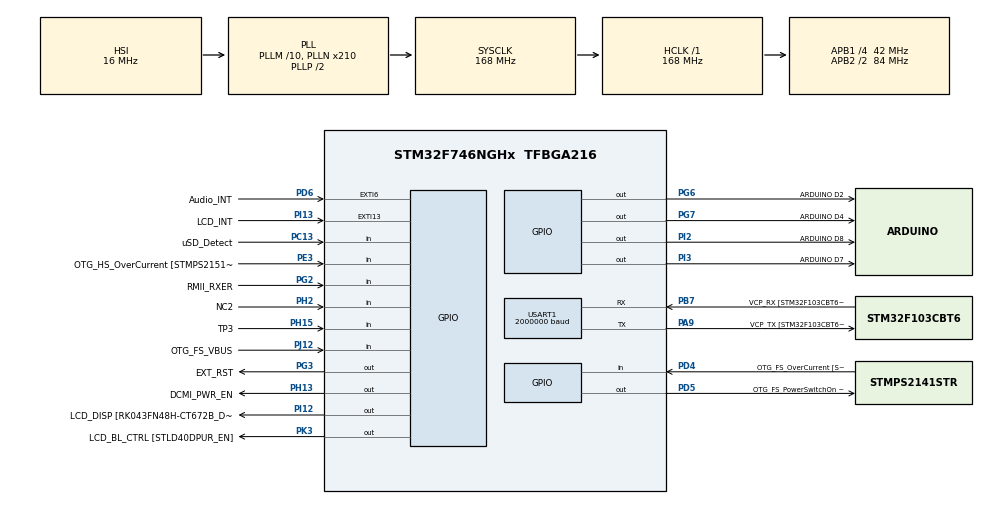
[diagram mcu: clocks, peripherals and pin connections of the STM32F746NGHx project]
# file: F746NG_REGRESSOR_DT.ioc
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Mcu.Family=STM32F7
Mcu.Name=STM32F746NGHx
Mcu.Package=TFBGA216
NVIC.PriorityGroup=NVIC_PRIORITYGROUP_4
PA0/WKUP.GPIO_Label=ARDUINO A0
PA0/WKUP.GPIO_Mode=GPIO_MODE_ANALOG
PA0/WKUP.GPIO_PuPd=GPIO_NOPULL
PA0/WKUP.Signal=ADCx_IN0
PA1.GPIO_Label=RMII_REF_CLK [LAN8742A-CZ-TR_REFCLK0]
PA1.Signal=ETH_REF_CLK
PA10.GPIO_Label=OTG_FS_ID
PA10.Signal=USB_OTG_FS_ID
PA11.GPIO_Label=OTG_FS_N
PA11.Signal=USB_OTG_FS_DM
PA12.GPIO_Label=OTG_FS_P
PA12.Signal=USB_OTG_FS_DP
PA13.GPIO_Label=SWDIO
PA13.Signal=SYS_JTMS-SWDIO
PA14.GPIO_Label=SWCLK
PA14.Signal=SYS_JTCK-SWCLK
PA15.GPIO_Label=ARDUINO PWM/D9
PA15.GPIO_ModeDefaultPP=GPIO_MODE_AF_PP
PA15.GPIO_PuPd=GPIO_NOPULL
PA15.GPIO_Speed=GPIO_SPEED_FREQ_LOW
PA15.Signal=S_TIM2_CH1_ETR
PA2.GPIO_Label=RMII_MDIO [LAN8742A-CZ-TR_MDIO]
PA2.Signal=ETH_MDIO
PA3.GPIO_Label=ULPI_D0 [USB3320C-EZK_D0]
PA3.Signal=USB_OTG_HS_ULPI_D0
PA4.GPIO_Label=DCMI_HSYNC
PA4.Signal=DCMI_HSYNC
PA5.GPIO_Label=ULPI_CLK [USB3320C-EZK_CLKOUT]
PA5.Signal=USB_OTG_HS_ULPI_CK
PA6.Signal=DCMI_PIXCLK
PA7.GPIO_Label=RMII_CRS_DV [LAN8742A-CZ-TR_CRS_DV]
PA7.Signal=ETH_CRS_DV
PA8.GPIO_Label=ARDUINO PWM/D10
PA8.GPIO_ModeDefaultPP=GPIO_MODE_AF_PP
PA8.GPIO_PuPd=GPIO_NOPULL
PA8.GPIO_Speed=GPIO_SPEED_FREQ_LOW
PA8.Signal=S_TIM1_CH1
PA9.GPIO_Label=VCP_TX [STM32F103CBT6_PA3]
PA9.GPIO_Mode=GPIO_MODE_AF_PP
PA9.GPIO_PuPd=GPIO_NOPULL
PA9.GPIO_Speed=GPIO_SPEED_FREQ_LOW
PA9.Mode=Asynchronous
PA9.Signal=USART1_TX
PB0.GPIO_Label=ULPI_D1 [USB3320C-EZK_D1]
PB0.Signal=USB_OTG_HS_ULPI_D1
PB1.GPIO_Label=ULPI_D2 [USB3320C-EZK_D2]
PB1.Signal=USB_OTG_HS_ULPI_D2
PB10.GPIO_Label=ULPI_D3 [USB3320C-EZK_D3]
PB10.Signal=USB_OTG_HS_ULPI_D3
PB11.GPIO_Label=ULPI_D4 [USB3320C-EZK_D4]
PB11.Signal=USB_OTG_HS_ULPI_D4
PB12.GPIO_Label=ULPI_D5 [USB3320C-EZK_D5]
PB12.Signal=USB_OTG_HS_ULPI_D5
PB13.GPIO_Label=ULPI_D6 [USB3320C-EZK_D6]
PB13.Signal=USB_OTG_HS_ULPI_D6
PB14.GPIO_Label=ARDUINO MISO/D12
PB14.GPIO_Mode=GPIO_MODE_AF_PP
PB14.GPIO_PuPd=GPIO_NOPULL
PB14.GPIO_Speed=GPIO_SPEED_FREQ_LOW
PB14.Signal=SPI2_MISO
PB15.GPIO_Label=ARDUINO MOSI/PWM/D11
PB15.GPIO_Mode=GPIO_MODE_AF_PP
PB15.GPIO_PuPd=GPIO_NOPULL
PB15.GPIO_Speed=GPIO_SPEED_FREQ_LOW
PB15.Signal=SPI2_MOSI
PB2.Signal=QUADSPI_CLK
PB3.GPIO_Label=SWO
PB3.Signal=SYS_JTDO-SWO
PB4.GPIO_Label=ARDUINO PWM/D3
PB4.GPIO_ModeDefaultPP=GPIO_MODE_AF_PP
PB4.GPIO_PuPd=GPIO_NOPULL
PB4.GPIO_Speed=GPIO_SPEED_FREQ_LOW
PB4.Signal=S_TIM3_CH1
PB5.GPIO_Label=ULPI_D7 [USB3320C-EZK_D7]
PB5.Signal=USB_OTG_HS_ULPI_D7
PB6.GPIO_Label=QSPI_NCS [N25Q128A13EF840E_S]
PB6.Signal=QUADSPI_BK1_NCS
PB7.GPIO_Label=VCP_RX [STM32F103CBT6_PA2]
PB7.GPIO_Mode=GPIO_MODE_AF_PP
PB7.GPIO_PuPd=GPIO_NOPULL
PB7.GPIO_Speed=GPIO_SPEED_FREQ_LOW
PB7.Mode=Asynchronous
PB7.Signal=USART1_RX
PB8.GPIO_Label=ARDUINO SCL/D15
PB8.GPIO_Mode=GPIO_MODE_AF_OD
PB8.GPIO_PuPd=GPIO_NOPULL
PB8.GPIO_Speed=GPIO_SPEED_FREQ_LOW
PB8.Signal=I2C1_SCL
PB9.GPIO_Label=ARDUINO SDA/D14
PB9.GPIO_Mode=GPIO_MODE_AF_OD
PB9.GPIO_PuPd=GPIO_NOPULL
PB9.GPIO_Speed=GPIO_SPEED_FREQ_LOW
PB9.Signal=I2C1_SDA
PC0.GPIO_Label=ULPI_STP [USB3320C-EZK_STP]
PC0.Signal=USB_OTG_HS_ULPI_STP
PC1.GPIO_Label=RMII_MDC [LAN8742A-CZ-TR_MDC]
PC1.Signal=ETH_MDC
PC10.GPIO_Label=SDMMC_D2
PC10.Signal=SDMMC1_D2
PC11.GPIO_Label=SDMMC_D3
PC11.Signal=SDMMC1_D3
PC12.GPIO_Label=SDMMC_CK
PC12.Signal=SDMMC1_CK
PC13.GPIO_Label=uSD_Detect
PC13.Signal=GPIO_Input
PC14/OSC32_IN.GPIO_Label=RCC_OSC32_IN
PC14/OSC32_IN.Signal=RCC_OSC32_IN
PC15/OSC32_OUT.GPIO_Label=RCC_OSC32_OUT
PC15/OSC32_OUT.Signal=RCC_OSC32_OUT
PC2.GPIO_Label=ULPI_DIR [USB3320C-EZK_DIR]
PC2.Signal=USB_OTG_HS_ULPI_DIR
PC3.GPIO_Label=FMC_SDCKE0 [MT48LC4M32B2B5-6A_CKE]
PC3.Signal=FMC_SDCKE0
PC4.GPIO_Label=RMII_RXD0 [LAN8742A-CZ-TR_RXD0]
PC4.Signal=ETH_RXD0
PC5.GPIO_Label=RMII_RXD1 [LAN8742A-CZ-TR_RXD1]
PC5.Signal=ETH_RXD1
PC6.GPIO_Label=ARDUINO TX/D1
PC6.Signal=USART6_TX
PC7.GPIO_Label=ARDUINO RX/D0
PC7.Signal=USART6_RX
PC8.Signal=SDMMC1_D0
PC9.Signal=SDMMC1_D1
PD0.GPIO_Label=FMC_D2 [MT48LC4M32B2B5-6A_DQ2]
PD0.Signal=FMC_D2_DA2
PD1.GPIO_Label=FMC_D3 [MT48LC4M32B2B5-6A_DQ3]
PD1.Signal=FMC_D3_DA3
PD10.GPIO_Label=FMC_D15 [MT48LC4M32B2B5-6A_DQ15]
PD10.Signal=FMC_D15_DA15
PD11.GPIO_Label=QSPI_D0 [N25Q128A13EF840E_DQ0]
PD11.Signal=QUADSPI_BK1_IO0
PD12.GPIO_Label=QSPI_D1 [N25Q128A13EF840E_DQ1]
PD12.Signal=QUADSPI_BK1_IO1
PD13.GPIO_Label=QSPI_D3 [N25Q128A13EF840E_DQ3]
PD13.Signal=QUADSPI_BK1_IO3
PD14.GPIO_Label=FMC_D0 [MT48LC4M32B2B5-6A_DQ0]
PD14.Signal=FMC_D0_DA0
PD15.GPIO_Label=FMC_D1 [MT48LC4M32B2B5-6A_DQ1]
PD15.Signal=FMC_D1_DA1
PD2.GPIO_Label=SDMMC_D0
PD2.Signal=SDMMC1_CMD
PD3.GPIO_Label=DCMI_D5
PD3.Signal=DCMI_D5
PD4.GPIO_Label=OTG_FS_OverCurrent [STMPS2141STR_Fault]
PD4.Signal=GPIO_Input
PD5.GPIO_Label=OTG_FS_PowerSwitchOn [STMPS2141STR_EN]
PD5.PinState=GPIO_PIN_SET
PD5.Signal=GPIO_Output
PD6.GPIO_Label=Audio_INT
PD6.GPIO_ModeDefaultEXTI=GPIO_MODE_EVT_RISING
PD6.Signal=GPXTI6
PD7.GPIO_Label=SPDIF_RX0 [74LVC1G04SE_4]
PD7.Signal=SPDIFRX_IN0
PD8.GPIO_Label=FMC_D13 [MT48LC4M32B2B5-6A_DQ13]
PD8.Signal=FMC_D13_DA13
PD9.GPIO_Label=FMC_D14 [MT48LC4M32B2B5-6A_DQ14]
PD9.Signal=FMC_D14_DA14
PE0.GPIO_Label=FMC_NBL0 [MT48LC4M32B2B5-6A_DQM0]
PE0.Signal=FMC_NBL0
PE1.GPIO_Label=FMC_NBL1 [MT48LC4M32B2B5-6A_DQM1]
PE1.Signal=FMC_NBL1
PE10.GPIO_Label=FMC_D7 [MT48LC4M32B2B5-6A_DQ7]
PE10.Signal=FMC_D7_DA7
PE11.GPIO_Label=FMC_D8 [MT48LC4M32B2B5-6A_DQ8]
PE11.Signal=FMC_D8_DA8
PE12.GPIO_Label=FMC_D9 [MT48LC4M32B2B5-6A_DQ9]
PE12.Signal=FMC_D9_DA9
PE13.GPIO_Label=FMC_D10 [MT48LC4M32B2B5-6A_DQ10]
PE13.Signal=FMC_D10_DA10
PE14.GPIO_Label=FMC_D11 [MT48LC4M32B2B5-6A_DQ11]
PE14.Signal=FMC_D11_DA11
PE15.GPIO_Label=FMC_D12 [MT48LC4M32B2B5-6A_DQ12]
PE15.Signal=FMC_D12_DA12
PE2.GPIO_Label=QSPI_D2 [N25Q128A13EF840E_DQ2]
PE2.Signal=QUADSPI_BK1_IO2
PE3.GPIO_Label=OTG_HS_OverCurrent [STMPS2151STR_FAULT]
PE3.Signal=GPIO_Input
PE4.GPIO_Label=LCD_B0 [RK043FN48H-CT672B_B0]
PE4.Signal=LTDC_B0
PE5.GPIO_Label=DCMI_D6
PE5.Signal=DCMI_D6
PE6.GPIO_Label=DCMI_D7
PE6.Signal=DCMI_D7
PE7.GPIO_Label=FMC_D4 [MT48LC4M32B2B5-6A_DQ4]
PE7.Signal=FMC_D4_DA4
PE8.GPIO_Label=FMC_D5 [MT48LC4M32B2B5-6A_DQ5]
PE8.Signal=FMC_D5_DA5
PE9.GPIO_Label=FMC_D6 [MT48LC4M32B2B5-6A_DQ6]
PE9.Signal=FMC_D6_DA6
PF0.GPIO_Label=FMC_A0 [MT48LC4M32B2B5-6A_A0]
PF0.Signal=FMC_A0
PF1.GPIO_Label=FMC_A1 [MT48LC4M32B2B5-6A_A1]
PF1.Signal=FMC_A1
PF10.GPIO_Label=ARDUINO A1
PF10.GPIO_Mode=GPIO_MODE_ANALOG
PF10.GPIO_PuPd=GPIO_NOPULL
PF10.Signal=ADC3_IN8
PF11.GPIO_Label=FMC_SDNRAS [MT48LC4M32B2B5-6A_RAS]
PF11.Signal=FMC_SDNRAS
PF12.GPIO_Label=FMC_A6 [MT48LC4M32B2B5-6A_A6]
PF12.Signal=FMC_A6
PF13.GPIO_Label=FMC_A7 [MT48LC4M32B2B5-6A_A7]
PF13.Signal=FMC_A7
PF14.GPIO_Label=FMC_A8 [MT48LC4M32B2B5-6A_A8]
PF14.Signal=FMC_A8
PF15.GPIO_Label=FMC_A9 [MT48LC4M32B2B5-6A_A9]
PF15.Signal=FMC_A9
PF2.GPIO_Label=FMC_A2 [MT48LC4M32B2B5-6A_A2]
PF2.Signal=FMC_A2
PF3.GPIO_Label=FMC_A3 [MT48LC4M32B2B5-6A_A3]
PF3.Signal=FMC_A3
PF4.GPIO_Label=FMC_A4 [MT48LC4M32B2B5-6A_A4]
PF4.Signal=FMC_A4
PF5.GPIO_Label=FMC_A5 [MT48LC4M32B2B5-6A_A5]
PF5.Signal=FMC_A5
PF6.GPIO_Label=ARDUINO A5
PF6.GPIO_Mode=GPIO_MODE_ANALOG
PF6.GPIO_PuPd=GPIO_NOPULL
PF6.Signal=ADC3_IN4
PF7.GPIO_Label=ARDUINO A4
PF7.GPIO_Mode=GPIO_MODE_ANALOG
PF7.GPIO_PuPd=GPIO_NOPULL
PF7.Signal=ADC3_IN5
PF8.GPIO_Label=ARDUINO A3
PF8.GPIO_Mode=GPIO_MODE_ANALOG
PF8.GPIO_PuPd=GPIO_NOPULL
PF8.Signal=ADC3_IN6
PF9.GPIO_Label=ARDUINO A2
PF9.GPIO_Mode=GPIO_MODE_ANALOG
PF9.GPIO_PuPd=GPIO_NOPULL
PF9.Signal=ADC3_IN7
PG0.GPIO_Label=FMC_A10 [MT48LC4M32B2B5-6A_A10]
PG0.Signal=FMC_A10
PG1.GPIO_Label=FMC_A11 [MT48LC4M32B2B5-6A_A11]
PG1.Signal=FMC_A11
PG10.GPIO_Label=SAI2_SDB [WM8994ECS/R_ADCDAT1]
PG10.Signal=SAI2_SD_B
PG11.GPIO_Label=RMII_TX_EN [LAN8742A-CZ-TR_TXEN]
PG11.Signal=ETH_TX_EN
PG12.GPIO_Label=LCD_B4 [RK043FN48H-CT672B_B4]
PG12.Signal=LTDC_B4
PG13.GPIO_Label=RMII_TXD0 [LAN8742A-CZ-TR_TXD0]
PG13.Signal=ETH_TXD0
PG14.GPIO_Label=RMII_TXD1 [LAN8742A-CZ-TR_TXD1]
PG14.Signal=ETH_TXD1
PG15.GPIO_Label=FMC_SDNCAS [MT48LC4M32B2B5-6A_CAS]
PG15.Signal=FMC_SDNCAS
PG2.GPIO_Label=RMII_RXER
PG2.Signal=GPIO_Input
PG3.GPIO_Label=EXT_RST
PG3.Signal=GPIO_Output
PG4.GPIO_Label=FMC_BA0 [MT48LC4M32B2B5-6A_BA0]
PG4.Signal=FMC_A14_BA0
PG5.GPIO_Label=FMC_BA1 [MT48LC4M32B2B5-6A_BA1]
PG5.Signal=FMC_A15_BA1
PG6.GPIO_Label=ARDUINO D2
PG6.Signal=GPIO_Output
PG7.GPIO_Label=ARDUINO D4
PG7.Signal=GPIO_Output
PG8.GPIO_Label=FMC_SDCLK [MT48LC4M32B2B5-6A_CLK]
PG8.Signal=FMC_SDCLK
PG9.GPIO_Label=DCMI_VSYNC
PG9.Signal=DCMI_VSYNC
PH0/OSC_IN.GPIO_Label=OSC_25M [NZ2520SB-25.00M_OUT]
PH0/OSC_IN.Signal=RCC_OSC_IN
PH1/OSC_OUT.Signal=RCC_OSC_OUT
PH10.GPIO_Label=DCMI_D1
PH10.Signal=DCMI_D1
PH11.GPIO_Label=DCMI_D2
PH11.Signal=DCMI_D2
PH12.GPIO_Label=DCMI_D3
PH12.Signal=DCMI_D3
PH13.GPIO_Label=DCMI_PWR_EN
PH13.Signal=GPIO_Output
PH14.GPIO_Label=DCMI_D4
PH14.Signal=DCMI_D4
PH15.GPIO_Label=TP3
PH15.Signal=GPIO_Input
PH2.GPIO_Label=NC2
PH2.Signal=GPIO_Input
PH3.GPIO_Label=FMC_SDNE0 [MT48LC4M32B2B5-6A_CS]
PH3.Signal=FMC_SDNE0
PH4.GPIO_Label=ULPI_NXT [USB3320C-EZK_NXT]
PH4.Signal=USB_OTG_HS_ULPI_NXT
PH5.GPIO_Label=FMC_SDNME [MT48LC4M32B2B5-6A_WE]
PH5.Signal=FMC_SDNWE
PH6.GPIO_Label=ARDUINO PWM/D6
PH6.Signal=S_TIM12_CH1
PH7.GPIO_Label=LCD_SCL [RK043FN48H-CT672B_SCL]
PH7.Signal=I2C3_SCL
PH8.GPIO_Label=LCD_SDA [RK043FN48H-CT672B_SDA]
PH8.Signal=I2C3_SDA
PH9.GPIO_Label=DCMI_D0
PH9.Signal=DCMI_D0
PI0.GPIO_Label=ARDUINO PWM/CS/D5
PI0.GPIO_ModeDefaultPP=GPIO_MODE_AF_PP
PI0.GPIO_PuPd=GPIO_NOPULL
PI0.GPIO_Speed=GPIO_SPEED_FREQ_LOW
PI0.Signal=S_TIM5_CH4
PI1.GPIO_Label=ARDUINO SCK/D13
PI1.GPIO_Mode=GPIO_MODE_AF_PP
PI1.GPIO_PuPd=GPIO_NOPULL
PI1.GPIO_Speed=GPIO_SPEED_FREQ_LOW
PI1.Signal=SPI2_SCK
PI10.GPIO_Label=LCD_HSYNC [RK043FN48H-CT672B_HSYNC]
PI10.Signal=LTDC_HSYNC
PI12.GPIO_Label=LCD_DISP [RK043FN48H-CT672B_DISP] 
PI12.Signal=GPIO_Output
PI13.GPIO_Label=LCD_INT
PI13.GPIO_ModeDefaultEXTI=GPIO_MODE_EVT_RISING
PI13.Signal=GPXTI13
PI14.GPIO_Label=LCD_CLK [RK043FN48H-CT672B_CLK]
PI14.Signal=LTDC_CLK
PI15.GPIO_Label=LCD_R0 [RK043FN48H-CT672B_R0]
PI15.Signal=LTDC_R0
PI2.GPIO_Label=ARDUINO D8
PI2.Signal=GPIO_Output
PI3.GPIO_Label=ARDUINO D7
PI3.Signal=GPIO_Output
PI4.GPIO_Label=SAI2_MCLKA [WM8994ECS/R_MCLK1]
PI4.Signal=SAI2_MCLK_A
PI5.GPIO_Label=SAI2_SCKA [WM8994ECS/R_BCLK1]
PI5.Signal=SAI2_SCK_A
PI6.GPIO_Label=SAI2_SDA [WM8994ECS/R_DACDAT1]
PI6.Signal=SAI2_SD_A
PI7.GPIO_Label=SAI2_FSA [WM8994ECS/R_LRCLK1]
PI7.Signal=SAI2_FS_A
PI8.GPIO_Label=NC1 [TP2]
PI8.Signal=RTC_TS
PI9.GPIO_Label=LCD_VSYNC [RK043FN48H-CT672B_VSYNC]
PI9.Signal=LTDC_VSYNC
PJ0.GPIO_Label=LCD_R1 [RK043FN48H-CT672B_R1]
PJ0.Signal=LTDC_R1
PJ1.GPIO_Label=LCD_R2 [RK043FN48H-CT672B_R2]
PJ1.Signal=LTDC_R2
PJ10.GPIO_Label=LCD_G3 [RK043FN48H-CT672B_G3]
PJ10.Signal=LTDC_G3
PJ11.GPIO_Label=LCD_G4 [RK043FN48H-CT672B_G4]
PJ11.Signal=LTDC_G4
PJ12.GPIO_Label=OTG_FS_VBUS
PJ12.Signal=GPIO_Input
PJ13.GPIO_Label=LCD_B1 [RK043FN48H-CT672B_B1]
PJ13.Signal=LTDC_B1
PJ14.GPIO_Label=LCD_B2 [RK043FN48H-CT672B_B2]
PJ14.Signal=LTDC_B2
PJ15.GPIO_Label=LCD_B3 [RK043FN48H-CT672B_B3]
PJ15.Signal=LTDC_B3
PJ2.GPIO_Label=LCD_R3 [RK043FN48H-CT672B_R3]
PJ2.Signal=LTDC_R3
PJ3.GPIO_Label=LCD_R4 [RK043FN48H-CT672B_R4]
PJ3.Signal=LTDC_R4
PJ4.GPIO_Label=LCD_R5 [RK043FN48H-CT672B_R5]
PJ4.Signal=LTDC_R5
PJ5.GPIO_Label=LCD_R6 [RK043FN48H-CT672B_R6]
PJ5.Signal=LTDC_R6
PJ6.GPIO_Label=LCD_R7 [RK043FN48H-CT672B_R7]
PJ6.Signal=LTDC_R7
PJ7.GPIO_Label=LCD_G0 [RK043FN48H-CT672B_G0]
PJ7.Signal=LTDC_G0
PJ8.GPIO_Label=LCD_G1 [RK043FN48H-CT672B_G1]
PJ8.Signal=LTDC_G1
PJ9.GPIO_Label=LCD_G2 [RK043FN48H-CT672B_G2]
PJ9.Signal=LTDC_G2
PK0.GPIO_Label=LCD_G5 [RK043FN48H-CT672B_G5]
PK0.Signal=LTDC_G5
PK1.GPIO_Label=LCD_G6 [RK043FN48H-CT672B_G6]
PK1.Signal=LTDC_G6
PK2.GPIO_Label=LCD_G7 [RK043FN48H-CT672B_G7]
PK2.Signal=LTDC_G7
PK3.GPIO_Label=LCD_BL_CTRL [STLD40DPUR_EN]
PK3.Signal=GPIO_Output
PK4.GPIO_Label=LCD_B5 [RK043FN48H-CT672B_B5]
PK4.Signal=LTDC_B5
PK5.GPIO_Label=LCD_B6 [RK043FN48H-CT672B_B6]
PK5.Signal=LTDC_B6
PK6.GPIO_Label=LCD_B7 [RK043FN48H-CT672B_B7]
PK6.Signal=LTDC_B7
PK7.GPIO_Label=LCD_DE [RK043FN48H-CT672B_DE]
PK7.Signal=LTDC_DE
ProjectManager.HeapSize=0x200
ProjectManager.StackSize=0x400
ProjectManager.TargetToolchain=STM32CubeIDE
RCC.AHBFreq_Value=168000000
RCC.APB1CLKDivider=RCC_HCLK_DIV4
RCC.APB1Freq_Value=42000000
RCC.APB1TimFreq_Value=84000000
RCC.APB2CLKDivider=RCC_HCLK_DIV2
RCC.APB2Freq_Value=84000000
RCC.APB2TimFreq_Value=168000000
RCC.CortexFreq_Value=168000000
RCC.HCLKFreq_Value=168000000
RCC.HSE_VALUE=25000000
RCC.HSI_VALUE=16000000
RCC.LSE_VALUE=32768
RCC.PLLM=10
RCC.PLLN=210
RCC.PLLQ=7
RCC.PLLSourceVirtual=RCC_PLLSOURCE_HSI
RCC.SYSCLKFreq_VALUE=168000000
RCC.SYSCLKSource=RCC_SYSCLKSOURCE_PLLCLK
RCC.USBFreq_Value=48000000
RCC.VCOOutputFreq_Value=336000000
SH.ADCx_IN0.0=ADC3_IN0
SH.FMC_A0.0=FMC_A0
SH.FMC_A1.0=FMC_A1
SH.FMC_A10.0=FMC_A10
SH.FMC_A11.0=FMC_A11
SH.FMC_A14_BA0.0=FMC_BA0
SH.FMC_A15_BA1.0=FMC_BA1
SH.FMC_A2.0=FMC_A2
SH.FMC_A3.0=FMC_A3
SH.FMC_A4.0=FMC_A4
SH.FMC_A5.0=FMC_A5
SH.FMC_A6.0=FMC_A6
SH.FMC_A7.0=FMC_A7
SH.FMC_A8.0=FMC_A8
SH.FMC_A9.0=FMC_A9
SH.FMC_D0_DA0.0=FMC_D0
SH.FMC_D10_DA10.0=FMC_D10
SH.FMC_D11_DA11.0=FMC_D11
SH.FMC_D12_DA12.0=FMC_D12
SH.FMC_D13_DA13.0=FMC_D13
SH.FMC_D14_DA14.0=FMC_D14
SH.FMC_D15_DA15.0=FMC_D15
SH.FMC_D1_DA1.0=FMC_D1
SH.FMC_D2_DA2.0=FMC_D2
SH.FMC_D3_DA3.0=FMC_D3
SH.FMC_D4_DA4.0=FMC_D4
SH.FMC_D5_DA5.0=FMC_D5
SH.FMC_D6_DA6.0=FMC_D6
SH.FMC_D7_DA7.0=FMC_D7
SH.FMC_D8_DA8.0=FMC_D8
SH.FMC_D9_DA9.0=FMC_D9
SH.FMC_NBL0.0=FMC_NBL0
SH.FMC_NBL1.0=FMC_NBL1
SH.FMC_SDCLK.0=FMC_SDCLK
SH.FMC_SDNCAS.0=FMC_SDNCAS
SH.FMC_SDNRAS.0=FMC_SDNRAS
SH.FMC_SDNWE.0=FMC_SDNWE
SH.S_TIM12_CH1.0=TIM12_CH1
SH.S_TIM1_CH1.0=TIM1_CH1
SH.S_TIM2_CH1_ETR.0=TIM2_CH1
SH.S_TIM3_CH1.0=TIM3_CH1
SH.S_TIM5_CH4.0=TIM5_CH4
USART1.BaudRate=2000000
USART1.VirtualMode-Asynchronous=VM_ASYNC
VP_RNG_VS_RNG.Mode=RNG_Activate
board=STM32F746G-DISCO

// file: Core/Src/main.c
/* USER CODE BEGIN Header */
/**
  ******************************************************************************
  * @file           : main.c
  * @brief          : Main program body
  ******************************************************************************
  * @attention
  *
  * Copyright (c) 2023 STMicroelectronics.
  * All rights reserved.
  *
  * This software is licensed under terms that can be found in the LICENSE file
  * in the root directory of this software component.
  * If no LICENSE file comes with this software, it is provided AS-IS.
  *
  ******************************************************************************
  */
/* USER CODE END Header */
#include "main.h"

/* USER CODE BEGIN Includes */
#include "dt_reg_inference.h"
#include "lib_serial.h"
#include "lib_rng.h"
/* USER CODE END Includes */

RNG_HandleTypeDef hrng;

UART_HandleTypeDef huart1;

void SystemClock_Config(void);
static void MX_GPIO_Init(void);
static void MX_RNG_Init(void);
static void MX_USART1_UART_Init(void);

/* USER CODE BEGIN 0 */
#define INPUT_PC		1
#define INPUT_MCU		2
#define INPUT			INPUT_PC

#define SIZE_INPUT 		NUM_FEATURES
#define SIZE_OUTPUT 	1

float input[SIZE_INPUT];
float output[SIZE_OUTPUT];

/* USER CODE END 0 */

int main(void)
{

  /* MCU Configuration--------------------------------------------------------*/

  /* Reset of all peripherals, Initializes the Flash interface and the Systick. */
  HAL_Init();

  /* Configure the system clock */
  SystemClock_Config();

  /* Initialize all configured peripherals */
  MX_GPIO_Init();
  MX_RNG_Init();
  MX_USART1_UART_Init();

  /* Infinite loop */
  while (1)
  {

    /* USER CODE BEGIN 3 */
	/*
	 * ORGANIZE INPUTS
	 */
#if (INPUT == INPUT_PC)
	  LIB_SERIAL_Receive(input, SIZE_INPUT, TYPE_F32);
#elif (INPUT == INPUT_MCU)
	  for (uint32_t i = 0; i < SIZE_INPUT; ++i)
		input[i] = (float)(LIB_RNG_GetRandomNumber() % 1000) / 1000.0f;

	LIB_SERIAL_Transmit(input, SIZE_INPUT, TYPE_F32);
#endif

	dt_reg_predict(input, output);

	LIB_SERIAL_Transmit(output, SIZE_OUTPUT, TYPE_F32);
	HAL_Delay(1000);
  }
  /* USER CODE END 3 */
}

void SystemClock_Config(void)
{
  RCC_OscInitTypeDef RCC_OscInitStruct = {0};
  RCC_ClkInitTypeDef RCC_ClkInitStruct = {0};

  /** Configure the main internal regulator output voltage
  */
  __HAL_RCC_PWR_CLK_ENABLE();
  __HAL_PWR_VOLTAGESCALING_CONFIG(PWR_REGULATOR_VOLTAGE_SCALE2);
  /** Initializes the RCC Oscillators according to the specified parameters
  * in the RCC_OscInitTypeDef structure.
  */
  RCC_OscInitStruct.OscillatorType = RCC_OSCILLATORTYPE_HSI;
  RCC_OscInitStruct.HSIState = RCC_HSI_ON;
  RCC_OscInitStruct.HSICalibrationValue = RCC_HSICALIBRATION_DEFAULT;
  RCC_OscInitStruct.PLL.PLLState = RCC_PLL_ON;
  RCC_OscInitStruct.PLL.PLLSource = RCC_PLLSOURCE_HSI;
  RCC_OscInitStruct.PLL.PLLM = 10;
  RCC_OscInitStruct.PLL.PLLN = 210;
  RCC_OscInitStruct.PLL.PLLP = RCC_PLLP_DIV2;
  RCC_OscInitStruct.PLL.PLLQ = 7;
  if (HAL_RCC_OscConfig(&RCC_OscInitStruct) != HAL_OK)
  {
    Error_Handler();
  }
  /** Initializes the CPU, AHB and APB buses clocks
  */
  RCC_ClkInitStruct.ClockType = RCC_CLOCKTYPE_HCLK|RCC_CLOCKTYPE_SYSCLK
                              |RCC_CLOCKTYPE_PCLK1|RCC_CLOCKTYPE_PCLK2;
  RCC_ClkInitStruct.SYSCLKSource = RCC_SYSCLKSOURCE_PLLCLK;
  RCC_ClkInitStruct.AHBCLKDivider = RCC_SYSCLK_DIV1;
  RCC_ClkInitStruct.APB1CLKDivider = RCC_HCLK_DIV4;
  RCC_ClkInitStruct.APB2CLKDivider = RCC_HCLK_DIV2;

  if (HAL_RCC_ClockConfig(&RCC_ClkInitStruct, FLASH_LATENCY_5) != HAL_OK)
  {
    Error_Handler();
  }
}

static void MX_RNG_Init(void)
{

  hrng.Instance = RNG;
  if (HAL_RNG_Init(&hrng) != HAL_OK)
  {
    Error_Handler();
  }

}

static void MX_USART1_UART_Init(void)
{

  huart1.Instance = USART1;
  huart1.Init.BaudRate = 2000000;
  huart1.Init.WordLength = UART_WORDLENGTH_8B;
  huart1.Init.StopBits = UART_STOPBITS_1;
  huart1.Init.Parity = UART_PARITY_NONE;
  huart1.Init.Mode = UART_MODE_TX_RX;
  huart1.Init.HwFlowCtl = UART_HWCONTROL_NONE;
  huart1.Init.OverSampling = UART_OVERSAMPLING_16;
  huart1.Init.OneBitSampling = UART_ONE_BIT_SAMPLE_DISABLE;
  huart1.AdvancedInit.AdvFeatureInit = UART_ADVFEATURE_NO_INIT;
  if (HAL_UART_Init(&huart1) != HAL_OK)
  {
    Error_Handler();
  }

}

static void MX_GPIO_Init(void)
{
  GPIO_InitTypeDef GPIO_InitStruct = {0};

  /* GPIO Ports Clock Enable */
  __HAL_RCC_GPIOE_CLK_ENABLE();
  __HAL_RCC_GPIOG_CLK_ENABLE();
  __HAL_RCC_GPIOB_CLK_ENABLE();
  __HAL_RCC_GPIOD_CLK_ENABLE();
  __HAL_RCC_GPIOC_CLK_ENABLE();
  __HAL_RCC_GPIOA_CLK_ENABLE();
  __HAL_RCC_GPIOJ_CLK_ENABLE();
  __HAL_RCC_GPIOI_CLK_ENABLE();
  __HAL_RCC_GPIOK_CLK_ENABLE();
  __HAL_RCC_GPIOF_CLK_ENABLE();
  __HAL_RCC_GPIOH_CLK_ENABLE();

  /*Configure GPIO pin Output Level */
  HAL_GPIO_WritePin(OTG_FS_PowerSwitchOn_GPIO_Port, OTG_FS_PowerSwitchOn_Pin, GPIO_PIN_SET);

  /*Configure GPIO pin Output Level */
  HAL_GPIO_WritePin(GPIOI, ARDUINO_D7_Pin|ARDUINO_D8_Pin|LCD_DISP_Pin, GPIO_PIN_RESET);

  /*Configure GPIO pin Output Level */
  HAL_GPIO_WritePin(LCD_BL_CTRL_GPIO_Port, LCD_BL_CTRL_Pin, GPIO_PIN_RESET);

  /*Configure GPIO pin Output Level */
  HAL_GPIO_WritePin(DCMI_PWR_EN_GPIO_Port, DCMI_PWR_EN_Pin, GPIO_PIN_RESET);

  /*Configure GPIO pin Output Level */
  HAL_GPIO_WritePin(GPIOG, ARDUINO_D4_Pin|ARDUINO_D2_Pin|EXT_RST_Pin, GPIO_PIN_RESET);

  /*Configure GPIO pin : LCD_B0_Pin */
  GPIO_InitStruct.Pin = LCD_B0_Pin;
  GPIO_InitStruct.Mode = GPIO_MODE_AF_PP;
  GPIO_InitStruct.Pull = GPIO_NOPULL;
  GPIO_InitStruct.Speed = GPIO_SPEED_FREQ_LOW;
  GPIO_InitStruct.Alternate = GPIO_AF14_LTDC;
  HAL_GPIO_Init(LCD_B0_GPIO_Port, &GPIO_InitStruct);

  /*Configure GPIO pin : OTG_HS_OverCurrent_Pin */
  GPIO_InitStruct.Pin = OTG_HS_OverCurrent_Pin;
  GPIO_InitStruct.Mode = GPIO_MODE_INPUT;
  GPIO_InitStruct.Pull = GPIO_NOPULL;
  HAL_GPIO_Init(OTG_HS_OverCurrent_GPIO_Port, &GPIO_InitStruct);

  /*Configure GPIO pin : QSPI_D2_Pin */
  GPIO_InitStruct.Pin = QSPI_D2_Pin;
  GPIO_InitStruct.Mode = GPIO_MODE_AF_PP;
  GPIO_InitStruct.Pull = GPIO_NOPULL;
  GPIO_InitStruct.Speed = GPIO_SPEED_FREQ_VERY_HIGH;
  GPIO_InitStruct.Alternate = GPIO_AF9_QUADSPI;
  HAL_GPIO_Init(QSPI_D2_GPIO_Port, &GPIO_InitStruct);

  /*Configure GPIO pins : RMII_TXD1_Pin RMII_TXD0_Pin RMII_TX_EN_Pin */
  GPIO_InitStruct.Pin = RMII_TXD1_Pin|RMII_TXD0_Pin|RMII_TX_EN_Pin;
  GPIO_InitStruct.Mode = GPIO_MODE_AF_PP;
  GPIO_InitStruct.Pull = GPIO_NOPULL;
  GPIO_InitStruct.Speed = GPIO_SPEED_FREQ_VERY_HIGH;
  GPIO_InitStruct.Alternate = GPIO_AF11_ETH;
  HAL_GPIO_Init(GPIOG, &GPIO_InitStruct);

  /*Configure GPIO pins : FMC_NBL1_Pin FMC_NBL0_Pin FMC_D5_Pin FMC_D6_Pin
                           FMC_D8_Pin FMC_D11_Pin FMC_D4_Pin FMC_D7_Pin
                           FMC_D9_Pin FMC_D12_Pin FMC_D10_Pin */
  GPIO_InitStruct.Pin = FMC_NBL1_Pin|FMC_NBL0_Pin|FMC_D5_Pin|FMC_D6_Pin
                          |FMC_D8_Pin|FMC_D11_Pin|FMC_D4_Pin|FMC_D7_Pin
                          |FMC_D9_Pin|FMC_D12_Pin|FMC_D10_Pin;
  GPIO_InitStruct.Mode = GPIO_MODE_AF_PP;
  GPIO_InitStruct.Pull = GPIO_NOPULL;
  GPIO_InitStruct.Speed = GPIO_SPEED_FREQ_VERY_HIGH;
  GPIO_InitStruct.Alternate = GPIO_AF12_FMC;
  HAL_GPIO_Init(GPIOE, &GPIO_InitStruct);

  /*Configure GPIO pins : ARDUINO_SCL_D15_Pin ARDUINO_SDA_D14_Pin */
  GPIO_InitStruct.Pin = ARDUINO_SCL_D15_Pin|ARDUINO_SDA_D14_Pin;
  GPIO_InitStruct.Mode = GPIO_MODE_AF_OD;
  GPIO_InitStruct.Pull = GPIO_NOPULL;
  GPIO_InitStruct.Speed = GPIO_SPEED_FREQ_LOW;
  GPIO_InitStruct.Alternate = GPIO_AF4_I2C1;
  HAL_GPIO_Init(GPIOB, &GPIO_InitStruct);

  /*Configure GPIO pins : ULPI_D7_Pin ULPI_D6_Pin ULPI_D5_Pin ULPI_D3_Pin
                           ULPI_D2_Pin ULPI_D1_Pin ULPI_D4_Pin */
  GPIO_InitStruct.Pin = ULPI_D7_Pin|ULPI_D6_Pin|ULPI_D5_Pin|ULPI_D3_Pin
                          |ULPI_D2_Pin|ULPI_D1_Pin|ULPI_D4_Pin;
  GPIO_InitStruct.Mode = GPIO_MODE_AF_PP;
  GPIO_InitStruct.Pull = GPIO_NOPULL;
  GPIO_InitStruct.Speed = GPIO_SPEED_FREQ_VERY_HIGH;
  GPIO_InitStruct.Alternate = GPIO_AF10_OTG_HS;
  HAL_GPIO_Init(GPIOB, &GPIO_InitStruct);

  /*Configure GPIO pin : ARDUINO_PWM_D3_Pin */
  GPIO_InitStruct.Pin = ARDUINO_PWM_D3_Pin;
  GPIO_InitStruct.Mode = GPIO_MODE_AF_PP;
  GPIO_InitStruct.Pull = GPIO_NOPULL;
  GPIO_InitStruct.Speed = GPIO_SPEED_FREQ_LOW;
  GPIO_InitStruct.Alternate = GPIO_AF2_TIM3;
  HAL_GPIO_Init(ARDUINO_PWM_D3_GPIO_Port, &GPIO_InitStruct);

  /*Configure GPIO pin : SPDIF_RX0_Pin */
  GPIO_InitStruct.Pin = SPDIF_RX0_Pin;
  GPIO_InitStruct.Mode = GPIO_MODE_AF_PP;
  GPIO_InitStruct.Pull = GPIO_NOPULL;
  GPIO_InitStruct.Speed = GPIO_SPEED_FREQ_LOW;
  GPIO_InitStruct.Alternate = GPIO_AF8_SPDIFRX;
  HAL_GPIO_Init(SPDIF_RX0_GPIO_Port, &GPIO_InitStruct);

  /*Configure GPIO pins : SDMMC_CK_Pin SDMMC_D3_Pin SDMMC_D2_Pin PC9
                           PC8 */
  GPIO_InitStruct.Pin = SDMMC_CK_Pin|SDMMC_D3_Pin|SDMMC_D2_Pin|GPIO_PIN_9
                          |GPIO_PIN_8;
  GPIO_InitStruct.Mode = GPIO_MODE_AF_PP;
  GPIO_InitStruct.Pull = GPIO_NOPULL;
  GPIO_InitStruct.Speed = GPIO_SPEED_FREQ_VERY_HIGH;
  GPIO_InitStruct.Alternate = GPIO_AF12_SDMMC1;
  HAL_GPIO_Init(GPIOC, &GPIO_InitStruct);

  /*Configure GPIO pin : ARDUINO_PWM_D9_Pin */
  GPIO_InitStruct.Pin = ARDUINO_PWM_D9_Pin;
  GPIO_InitStruct.Mode = GPIO_MODE_AF_PP;
  GPIO_InitStruct.Pull = GPIO_NOPULL;
  GPIO_InitStruct.Speed = GPIO_SPEED_FREQ_LOW;
  GPIO_InitStruct.Alternate = GPIO_AF1_TIM2;
  HAL_GPIO_Init(ARDUINO_PWM_D9_GPIO_Port, &GPIO_InitStruct);

  /*Configure GPIO pins : DCMI_D6_Pin DCMI_D7_Pin */
  GPIO_InitStruct.Pin = DCMI_D6_Pin|DCMI_D7_Pin;
  GPIO_InitStruct.Mode = GPIO_MODE_AF_PP;
  GPIO_InitStruct.Pull = GPIO_NOPULL;
  GPIO_InitStruct.Speed = GPIO_SPEED_FREQ_LOW;
  GPIO_InitStruct.Alternate = GPIO_AF13_DCMI;
  HAL_GPIO_Init(GPIOE, &GPIO_InitStruct);

  /*Configure GPIO pin : QSPI_NCS_Pin */
  GPIO_InitStruct.Pin = QSPI_NCS_Pin;
  GPIO_InitStruct.Mode = GPIO_MODE_AF_PP;
  GPIO_InitStruct.Pull = GPIO_NOPULL;
  GPIO_InitStruct.Speed = GPIO_SPEED_FREQ_VERY_HIGH;
  GPIO_InitStruct.Alternate = GPIO_AF10_QUADSPI;
  HAL_GPIO_Init(QSPI_NCS_GPIO_Port, &GPIO_InitStruct);

  /*Configure GPIO pins : FMC_SDNCAS_Pin FMC_SDCLK_Pin FMC_A11_Pin FMC_A10_Pin
                           FMC_BA1_Pin FMC_BA0_Pin */
  GPIO_InitStruct.Pin = FMC_SDNCAS_Pin|FMC_SDCLK_Pin|FMC_A11_Pin|FMC_A10_Pin
                          |FMC_BA1_Pin|FMC_BA0_Pin;
  GPIO_InitStruct.Mode = GPIO_MODE_AF_PP;
  GPIO_InitStruct.Pull = GPIO_NOPULL;
  GPIO_InitStruct.Speed = GPIO_SPEED_FREQ_VERY_HIGH;
  GPIO_InitStruct.Alternate = GPIO_AF12_FMC;
  HAL_GPIO_Init(GPIOG, &GPIO_InitStruct);

  /*Configure GPIO pins : LCD_B1_Pin LCD_B2_Pin LCD_B3_Pin LCD_G4_Pin
                           LCD_G1_Pin LCD_G3_Pin LCD_G0_Pin LCD_G2_Pin
                           LCD_R7_Pin LCD_R5_Pin LCD_R6_Pin LCD_R4_Pin
                           LCD_R3_Pin LCD_R1_Pin LCD_R2_Pin */
  GPIO_InitStruct.Pin = LCD_B1_Pin|LCD_B2_Pin|LCD_B3_Pin|LCD_G4_Pin
                          |LCD_G1_Pin|LCD_G3_Pin|LCD_G0_Pin|LCD_G2_Pin
                          |LCD_R7_Pin|LCD_R5_Pin|LCD_R6_Pin|LCD_R4_Pin
                          |LCD_R3_Pin|LCD_R1_Pin|LCD_R2_Pin;
  GPIO_InitStruct.Mode = GPIO_MODE_AF_PP;
  GPIO_InitStruct.Pull = GPIO_NOPULL;
  GPIO_InitStruct.Speed = GPIO_SPEED_FREQ_LOW;
  GPIO_InitStruct.Alternate = GPIO_AF14_LTDC;
  HAL_GPIO_Init(GPIOJ, &GPIO_InitStruct);

  /*Configure GPIO pin : OTG_FS_VBUS_Pin */
  GPIO_InitStruct.Pin = OTG_FS_VBUS_Pin;
  GPIO_InitStruct.Mode = GPIO_MODE_INPUT;
  GPIO_InitStruct.Pull = GPIO_NOPULL;
  HAL_GPIO_Init(OTG_FS_VBUS_GPIO_Port, &GPIO_InitStruct);

  /*Configure GPIO pin : Audio_INT_Pin */
  GPIO_InitStruct.Pin = Audio_INT_Pin;
  GPIO_InitStruct.Mode = GPIO_MODE_EVT_RISING;
  GPIO_InitStruct.Pull = GPIO_NOPULL;
  HAL_GPIO_Init(Audio_INT_GPIO_Port, &GPIO_InitStruct);

  /*Configure GPIO pins : FMC_D2_Pin FMC_D3_Pin FMC_D1_Pin FMC_D15_Pin
                           FMC_D0_Pin FMC_D14_Pin FMC_D13_Pin */
  GPIO_InitStruct.Pin = FMC_D2_Pin|FMC_D3_Pin|FMC_D1_Pin|FMC_D15_Pin
                          |FMC_D0_Pin|FMC_D14_Pin|FMC_D13_Pin;
  GPIO_InitStruct.Mode = GPIO_MODE_AF_PP;
  GPIO_InitStruct.Pull = GPIO_NOPULL;
  GPIO_InitStruct.Speed = GPIO_SPEED_FREQ_VERY_HIGH;
  GPIO_InitStruct.Alternate = GPIO_AF12_FMC;
  HAL_GPIO_Init(GPIOD, &GPIO_InitStruct);

  /*Configure GPIO pins : OTG_FS_P_Pin OTG_FS_N_Pin OTG_FS_ID_Pin */
  GPIO_InitStruct.Pin = OTG_FS_P_Pin|OTG_FS_N_Pin|OTG_FS_ID_Pin;
  GPIO_InitStruct.Mode = GPIO_MODE_AF_PP;
  GPIO_InitStruct.Pull = GPIO_NOPULL;
  GPIO_InitStruct.Speed = GPIO_SPEED_FREQ_VERY_HIGH;
  GPIO_InitStruct.Alternate = GPIO_AF10_OTG_FS;
  HAL_GPIO_Init(GPIOA, &GPIO_InitStruct);

  /*Configure GPIO pins : SAI2_MCLKA_Pin SAI2_SCKA_Pin SAI2_FSA_Pin SAI2_SDA_Pin */
  GPIO_InitStruct.Pin = SAI2_MCLKA_Pin|SAI2_SCKA_Pin|SAI2_FSA_Pin|SAI2_SDA_Pin;
  GPIO_InitStruct.Mode = GPIO_MODE_AF_PP;
  GPIO_InitStruct.Pull = GPIO_NOPULL;
  GPIO_InitStruct.Speed = GPIO_SPEED_FREQ_LOW;
  GPIO_InitStruct.Alternate = GPIO_AF10_SAI2;
  HAL_GPIO_Init(GPIOI, &GPIO_InitStruct);

  /*Configure GPIO pins : LCD_DE_Pin LCD_B7_Pin LCD_B6_Pin LCD_B5_Pin
                           LCD_G6_Pin LCD_G7_Pin LCD_G5_Pin */
  GPIO_InitStruct.Pin = LCD_DE_Pin|LCD_B7_Pin|LCD_B6_Pin|LCD_B5_Pin
                          |LCD_G6_Pin|LCD_G7_Pin|LCD_G5_Pin;
  GPIO_InitStruct.Mode = GPIO_MODE_AF_PP;
  GPIO_InitStruct.Pull = GPIO_NOPULL;
  GPIO_InitStruct.Speed = GPIO_SPEED_FREQ_LOW;
  GPIO_InitStruct.Alternate = GPIO_AF14_LTDC;
  HAL_GPIO_Init(GPIOK, &GPIO_InitStruct);

  /*Configure GPIO pin : LCD_B4_Pin */
  GPIO_InitStruct.Pin = LCD_B4_Pin;
  GPIO_InitStruct.Mode = GPIO_MODE_AF_PP;
  GPIO_InitStruct.Pull = GPIO_NOPULL;
  GPIO_InitStruct.Speed = GPIO_SPEED_FREQ_LOW;
  GPIO_InitStruct.Alternate = GPIO_AF9_LTDC;
  HAL_GPIO_Init(LCD_B4_GPIO_Port, &GPIO_InitStruct);

  /*Configure GPIO pin : SAI2_SDB_Pin */
  GPIO_InitStruct.Pin = SAI2_SDB_Pin;
  GPIO_InitStruct.Mode = GPIO_MODE_AF_PP;
  GPIO_InitStruct.Pull = GPIO_NOPULL;
  GPIO_InitStruct.Speed = GPIO_SPEED_FREQ_LOW;
  GPIO_InitStruct.Alternate = GPIO_AF10_SAI2;
  HAL_GPIO_Init(SAI2_SDB_GPIO_Port, &GPIO_InitStruct);

  /*Configure GPIO pin : OTG_FS_PowerSwitchOn_Pin */
  GPIO_InitStruct.Pin = OTG_FS_PowerSwitchOn_Pin;
  GPIO_InitStruct.Mode = GPIO_MODE_OUTPUT_PP;
  GPIO_InitStruct.Pull = GPIO_NOPULL;
  GPIO_InitStruct.Speed = GPIO_SPEED_FREQ_LOW;
  HAL_GPIO_Init(OTG_FS_PowerSwitchOn_GPIO_Port, &GPIO_InitStruct);

  /*Configure GPIO pin : DCMI_D5_Pin */
  GPIO_InitStruct.Pin = DCMI_D5_Pin;
  GPIO_InitStruct.Mode = GPIO_MODE_AF_PP;
  GPIO_InitStruct.Pull = GPIO_NOPULL;
  GPIO_InitStruct.Speed = GPIO_SPEED_FREQ_LOW;
  GPIO_InitStruct.Alternate = GPIO_AF13_DCMI;
  HAL_GPIO_Init(DCMI_D5_GPIO_Port, &GPIO_InitStruct);

  /*Configure GPIO pins : ARDUINO_D7_Pin ARDUINO_D8_Pin LCD_DISP_Pin */
  GPIO_InitStruct.Pin = ARDUINO_D7_Pin|ARDUINO_D8_Pin|LCD_DISP_Pin;
  GPIO_InitStruct.Mode = GPIO_MODE_OUTPUT_PP;
  GPIO_InitStruct.Pull = GPIO_NOPULL;
  GPIO_InitStruct.Speed = GPIO_SPEED_FREQ_LOW;
  HAL_GPIO_Init(GPIOI, &GPIO_InitStruct);

  /*Configure GPIO pin : uSD_Detect_Pin */
  GPIO_InitStruct.Pin = uSD_Detect_Pin;
  GPIO_InitStruct.Mode = GPIO_MODE_INPUT;
  GPIO_InitStruct.Pull = GPIO_NOPULL;
  HAL_GPIO_Init(uSD_Detect_GPIO_Port, &GPIO_InitStruct);

  /*Configure GPIO pins : FMC_A0_Pin FMC_A1_Pin FMC_A2_Pin FMC_A3_Pin
                           FMC_A4_Pin FMC_A5_Pin FMC_A6_Pin FMC_A9_Pin
                           FMC_A7_Pin FMC_A8_Pin FMC_SDNRAS_Pin */
  GPIO_InitStruct.Pin = FMC_A0_Pin|FMC_A1_Pin|FMC_A2_Pin|FMC_A3_Pin
                          |FMC_A4_Pin|FMC_A5_Pin|FMC_A6_Pin|FMC_A9_Pin
                          |FMC_A7_Pin|FMC_A8_Pin|FMC_SDNRAS_Pin;
  GPIO_InitStruct.Mode = GPIO_MODE_AF_PP;
  GPIO_InitStruct.Pull = GPIO_NOPULL;
  GPIO_InitStruct.Speed = GPIO_SPEED_FREQ_VERY_HIGH;
  GPIO_InitStruct.Alternate = GPIO_AF12_FMC;
  HAL_GPIO_Init(GPIOF, &GPIO_InitStruct);

  /*Configure GPIO pins : LCD_HSYNC_Pin LCD_VSYNC_Pin LCD_R0_Pin LCD_CLK_Pin */
  GPIO_InitStruct.Pin = LCD_HSYNC_Pin|LCD_VSYNC_Pin|LCD_R0_Pin|LCD_CLK_Pin;
  GPIO_InitStruct.Mode = GPIO_MODE_AF_PP;
  GPIO_InitStruct.Pull = GPIO_NOPULL;
  GPIO_InitStruct.Speed = GPIO_SPEED_FREQ_LOW;
  GPIO_InitStruct.Alternate = GPIO_AF14_LTDC;
  HAL_GPIO_Init(GPIOI, &GPIO_InitStruct);

  /*Configure GPIO pin : LCD_BL_CTRL_Pin */
  GPIO_InitStruct.Pin = LCD_BL_CTRL_Pin;
  GPIO_InitStruct.Mode = GPIO_MODE_OUTPUT_PP;
  GPIO_InitStruct.Pull = GPIO_NOPULL;
  GPIO_InitStruct.Speed = GPIO_SPEED_FREQ_LOW;
  HAL_GPIO_Init(LCD_BL_CTRL_GPIO_Port, &GPIO_InitStruct);

  /*Configure GPIO pin : DCMI_VSYNC_Pin */
  GPIO_InitStruct.Pin = DCMI_VSYNC_Pin;
  GPIO_InitStruct.Mode = GPIO_MODE_AF_PP;
  GPIO_InitStruct.Pull = GPIO_NOPULL;
  GPIO_InitStruct.Speed = GPIO_SPEED_FREQ_LOW;
  GPIO_InitStruct.Alternate = GPIO_AF13_DCMI;
  HAL_GPIO_Init(DCMI_VSYNC_GPIO_Port, &GPIO_InitStruct);

  /*Configure GPIO pin : OTG_FS_OverCurrent_Pin */
  GPIO_InitStruct.Pin = OTG_FS_OverCurrent_Pin;
  GPIO_InitStruct.Mode = GPIO_MODE_INPUT;
  GPIO_InitStruct.Pull = GPIO_NOPULL;
  HAL_GPIO_Init(OTG_FS_OverCurrent_GPIO_Port, &GPIO_InitStruct);

  /*Configure GPIO pin : SDMMC_D0_Pin */
  GPIO_InitStruct.Pin = SDMMC_D0_Pin;
  GPIO_InitStruct.Mode = GPIO_MODE_AF_PP;
  GPIO_InitStruct.Pull = GPIO_NOPULL;
  GPIO_InitStruct.Speed = GPIO_SPEED_FREQ_VERY_HIGH;
  GPIO_InitStruct.Alternate = GPIO_AF12_SDMMC1;
  HAL_GPIO_Init(SDMMC_D0_GPIO_Port, &GPIO_InitStruct);

  /*Configure GPIO pins : TP3_Pin NC2_Pin */
  GPIO_InitStruct.Pin = TP3_Pin|NC2_Pin;
  GPIO_InitStruct.Mode = GPIO_MODE_INPUT;
  GPIO_InitStruct.Pull = GPIO_NOPULL;
  HAL_GPIO_Init(GPIOH, &GPIO_InitStruct);

  /*Configure GPIO pin : ARDUINO_SCK_D13_Pin */
  GPIO_InitStruct.Pin = ARDUINO_SCK_D13_Pin;
  GPIO_InitStruct.Mode = GPIO_MODE_AF_PP;
  GPIO_InitStruct.Pull = GPIO_NOPULL;
  GPIO_InitStruct.Speed = GPIO_SPEED_FREQ_LOW;
  GPIO_InitStruct.Alternate = GPIO_AF5_SPI2;
  HAL_GPIO_Init(ARDUINO_SCK_D13_GPIO_Port, &GPIO_InitStruct);

  /*Configure GPIO pin : DCMI_PWR_EN_Pin */
  GPIO_InitStruct.Pin = DCMI_PWR_EN_Pin;
  GPIO_InitStruct.Mode = GPIO_MODE_OUTPUT_PP;
  GPIO_InitStruct.Pull = GPIO_NOPULL;
  GPIO_InitStruct.Speed = GPIO_SPEED_FREQ_LOW;
  HAL_GPIO_Init(DCMI_PWR_EN_GPIO_Port, &GPIO_InitStruct);

  /*Configure GPIO pins : DCMI_D4_Pin DCMI_D3_Pin DCMI_D0_Pin DCMI_D2_Pin
                           DCMI_D1_Pin */
  GPIO_InitStruct.Pin = DCMI_D4_Pin|DCMI_D3_Pin|DCMI_D0_Pin|DCMI_D2_Pin
                          |DCMI_D1_Pin;
  GPIO_InitStruct.Mode = GPIO_MODE_AF_PP;
  GPIO_InitStruct.Pull = GPIO_NOPULL;
  GPIO_InitStruct.Speed = GPIO_SPEED_FREQ_LOW;
  GPIO_InitStruct.Alternate = GPIO_AF13_DCMI;
  HAL_GPIO_Init(GPIOH, &GPIO_InitStruct);

  /*Configure GPIO pin : ARDUINO_PWM_CS_D5_Pin */
  GPIO_InitStruct.Pin = ARDUINO_PWM_CS_D5_Pin;
  GPIO_InitStruct.Mode = GPIO_MODE_AF_PP;
  GPIO_InitStruct.Pull = GPIO_NOPULL;
  GPIO_InitStruct.Speed = GPIO_SPEED_FREQ_LOW;
  GPIO_InitStruct.Alternate = GPIO_AF2_TIM5;
  HAL_GPIO_Init(ARDUINO_PWM_CS_D5_GPIO_Port, &GPIO_InitStruct);

  /*Configure GPIO pin : ARDUINO_PWM_D10_Pin */
  GPIO_InitStruct.Pin = ARDUINO_PWM_D10_Pin;
  GPIO_InitStruct.Mode = GPIO_MODE_AF_PP;
  GPIO_InitStruct.Pull = GPIO_NOPULL;
  GPIO_InitStruct.Speed = GPIO_SPEED_FREQ_LOW;
  GPIO_InitStruct.Alternate = GPIO_AF1_TIM1;
  HAL_GPIO_Init(ARDUINO_PWM_D10_GPIO_Port, &GPIO_InitStruct);

  /*Configure GPIO pin : LCD_INT_Pin */
  GPIO_InitStruct.Pin = LCD_INT_Pin;
  GPIO_InitStruct.Mode = GPIO_MODE_EVT_RISING;
  GPIO_InitStruct.Pull = GPIO_NOPULL;
  HAL_GPIO_Init(LCD_INT_GPIO_Port, &GPIO_InitStruct);

  /*Configure GPIO pins : ARDUINO_RX_D0_Pin ARDUINO_TX_D1_Pin */
  GPIO_InitStruct.Pin = ARDUINO_RX_D0_Pin|ARDUINO_TX_D1_Pin;
  GPIO_InitStruct.Mode = GPIO_MODE_AF_PP;
  GPIO_InitStruct.Pull = GPIO_NOPULL;
  GPIO_InitStruct.Speed = GPIO_SPEED_FREQ_VERY_HIGH;
  GPIO_InitStruct.Alternate = GPIO_AF8_USART6;
  HAL_GPIO_Init(GPIOC, &GPIO_InitStruct);

  /*Configure GPIO pin : ULPI_NXT_Pin */
  GPIO_InitStruct.Pin = ULPI_NXT_Pin;
  GPIO_InitStruct.Mode = GPIO_MODE_AF_PP;
  GPIO_InitStruct.Pull = GPIO_NOPULL;
  GPIO_InitStruct.Speed = GPIO_SPEED_FREQ_VERY_HIGH;
  GPIO_InitStruct.Alternate = GPIO_AF10_OTG_HS;
  HAL_GPIO_Init(ULPI_NXT_GPIO_Port, &GPIO_InitStruct);

  /*Configure GPIO pins : FMC_SDNME_Pin FMC_SDNE0_Pin */
  GPIO_InitStruct.Pin = FMC_SDNME_Pin|FMC_SDNE0_Pin;
  GPIO_InitStruct.Mode = GPIO_MODE_AF_PP;
  GPIO_InitStruct.Pull = GPIO_NOPULL;
  GPIO_InitStruct.Speed = GPIO_SPEED_FREQ_VERY_HIGH;
  GPIO_InitStruct.Alternate = GPIO_AF12_FMC;
  HAL_GPIO_Init(GPIOH, &GPIO_InitStruct);

  /*Configure GPIO pins : ARDUINO_D4_Pin ARDUINO_D2_Pin EXT_RST_Pin */
  GPIO_InitStruct.Pin = ARDUINO_D4_Pin|ARDUINO_D2_Pin|EXT_RST_Pin;
  GPIO_InitStruct.Mode = GPIO_MODE_OUTPUT_PP;
  GPIO_InitStruct.Pull = GPIO_NOPULL;
  GPIO_InitStruct.Speed = GPIO_SPEED_FREQ_LOW;
  HAL_GPIO_Init(GPIOG, &GPIO_InitStruct);

  /*Configure GPIO pins : ARDUINO_A4_Pin ARDUINO_A5_Pin ARDUINO_A1_Pin ARDUINO_A2_Pin
                           ARDUINO_A3_Pin */
  GPIO_InitStruct.Pin = ARDUINO_A4_Pin|ARDUINO_A5_Pin|ARDUINO_A1_Pin|ARDUINO_A2_Pin
                          |ARDUINO_A3_Pin;
  GPIO_InitStruct.Mode = GPIO_MODE_ANALOG;
  GPIO_InitStruct.Pull = GPIO_NOPULL;
  HAL_GPIO_Init(GPIOF, &GPIO_InitStruct);

  /*Configure GPIO pin : FMC_SDCKE0_Pin */
  GPIO_InitStruct.Pin = FMC_SDCKE0_Pin;
  GPIO_InitStruct.Mode = GPIO_MODE_AF_PP;
  GPIO_InitStruct.Pull = GPIO_NOPULL;
  GPIO_InitStruct.Speed = GPIO_SPEED_FREQ_VERY_HIGH;
  GPIO_InitStruct.Alternate = GPIO_AF12_FMC;
  HAL_GPIO_Init(FMC_SDCKE0_GPIO_Port, &GPIO_InitStruct);

  /*Configure GPIO pins : ULPI_STP_Pin ULPI_DIR_Pin */
  GPIO_InitStruct.Pin = ULPI_STP_Pin|ULPI_DIR_Pin;
  GPIO_InitStruct.Mode = GPIO_MODE_AF_PP;
  GPIO_InitStruct.Pull = GPIO_NOPULL;
  GPIO_InitStruct.Speed = GPIO_SPEED_FREQ_VERY_HIGH;
  GPIO_InitStruct.Alternate = GPIO_AF10_OTG_HS;
  HAL_GPIO_Init(GPIOC, &GPIO_InitStruct);

  /*Configure GPIO pins : RMII_MDC_Pin RMII_RXD0_Pin RMII_RXD1_Pin */
  GPIO_InitStruct.Pin = RMII_MDC_Pin|RMII_RXD0_Pin|RMII_RXD1_Pin;
  GPIO_InitStruct.Mode = GPIO_MODE_AF_PP;
  GPIO_InitStruct.Pull = GPIO_NOPULL;
  GPIO_InitStruct.Speed = GPIO_SPEED_FREQ_VERY_HIGH;
  GPIO_InitStruct.Alternate = GPIO_AF11_ETH;
  HAL_GPIO_Init(GPIOC, &GPIO_InitStruct);

  /*Configure GPIO pin : PB2 */
  GPIO_InitStruct.Pin = GPIO_PIN_2;
  GPIO_InitStruct.Mode = GPIO_MODE_AF_PP;
  GPIO_InitStruct.Pull = GPIO_NOPULL;
  GPIO_InitStruct.Speed = GPIO_SPEED_FREQ_VERY_HIGH;
  GPIO_InitStruct.Alternate = GPIO_AF9_QUADSPI;
  HAL_GPIO_Init(GPIOB, &GPIO_InitStruct);

  /*Configure GPIO pins : QSPI_D1_Pin QSPI_D3_Pin QSPI_D0_Pin */
  GPIO_InitStruct.Pin = QSPI_D1_Pin|QSPI_D3_Pin|QSPI_D0_Pin;
  GPIO_InitStruct.Mode = GPIO_MODE_AF_PP;
  GPIO_InitStruct.Pull = GPIO_NOPULL;
  GPIO_InitStruct.Speed = GPIO_SPEED_FREQ_VERY_HIGH;
  GPIO_InitStruct.Alternate = GPIO_AF9_QUADSPI;
  HAL_GPIO_Init(GPIOD, &GPIO_InitStruct);

  /*Configure GPIO pin : RMII_RXER_Pin */
  GPIO_InitStruct.Pin = RMII_RXER_Pin;
  GPIO_InitStruct.Mode = GPIO_MODE_INPUT;
  GPIO_InitStruct.Pull = GPIO_NOPULL;
  HAL_GPIO_Init(RMII_RXER_GPIO_Port, &GPIO_InitStruct);

  /*Configure GPIO pins : RMII_REF_CLK_Pin RMII_MDIO_Pin RMII_CRS_DV_Pin */
  GPIO_InitStruct.Pin = RMII_REF_CLK_Pin|RMII_MDIO_Pin|RMII_CRS_DV_Pin;
  GPIO_InitStruct.Mode = GPIO_MODE_AF_PP;
  GPIO_InitStruct.Pull = GPIO_NOPULL;
  GPIO_InitStruct.Speed = GPIO_SPEED_FREQ_VERY_HIGH;
  GPIO_InitStruct.Alternate = GPIO_AF11_ETH;
  HAL_GPIO_Init(GPIOA, &GPIO_InitStruct);

  /*Configure GPIO pin : ARDUINO_A0_Pin */
  GPIO_InitStruct.Pin = ARDUINO_A0_Pin;
  GPIO_InitStruct.Mode = GPIO_MODE_ANALOG;
  GPIO_InitStruct.Pull = GPIO_NOPULL;
  HAL_GPIO_Init(ARDUINO_A0_GPIO_Port, &GPIO_InitStruct);

  /*Configure GPIO pins : DCMI_HSYNC_Pin PA6 */
  GPIO_InitStruct.Pin = DCMI_HSYNC_Pin|GPIO_PIN_6;
  GPIO_InitStruct.Mode = GPIO_MODE_AF_PP;
  GPIO_InitStruct.Pull = GPIO_NOPULL;
  GPIO_InitStruct.Speed = GPIO_SPEED_FREQ_LOW;
  GPIO_InitStruct.Alternate = GPIO_AF13_DCMI;
  HAL_GPIO_Init(GPIOA, &GPIO_InitStruct);

  /*Configure GPIO pins : LCD_SCL_Pin LCD_SDA_Pin */
  GPIO_InitStruct.Pin = LCD_SCL_Pin|LCD_SDA_Pin;
  GPIO_InitStruct.Mode = GPIO_MODE_AF_OD;
  GPIO_InitStruct.Pull = GPIO_NOPULL;
  GPIO_InitStruct.Speed = GPIO_SPEED_FREQ_VERY_HIGH;
  GPIO_InitStruct.Alternate = GPIO_AF4_I2C3;
  HAL_GPIO_Init(GPIOH, &GPIO_InitStruct);

  /*Configure GPIO pins : ULPI_CLK_Pin ULPI_D0_Pin */
  GPIO_InitStruct.Pin = ULPI_CLK_Pin|ULPI_D0_Pin;
  GPIO_InitStruct.Mode = GPIO_MODE_AF_PP;
  GPIO_InitStruct.Pull = GPIO_NOPULL;
  GPIO_InitStruct.Speed = GPIO_SPEED_FREQ_VERY_HIGH;
  GPIO_InitStruct.Alternate = GPIO_AF10_OTG_HS;
  HAL_GPIO_Init(GPIOA, &GPIO_InitStruct);

  /*Configure GPIO pin : ARDUINO_PWM_D6_Pin */
  GPIO_InitStruct.Pin = ARDUINO_PWM_D6_Pin;
  GPIO_InitStruct.Mode = GPIO_MODE_AF_PP;
  GPIO_InitStruct.Pull = GPIO_NOPULL;
  GPIO_InitStruct.Speed = GPIO_SPEED_FREQ_LOW;
  GPIO_InitStruct.Alternate = GPIO_AF9_TIM12;
  HAL_GPIO_Init(ARDUINO_PWM_D6_GPIO_Port, &GPIO_InitStruct);

  /*Configure GPIO pins : ARDUINO_MISO_D12_Pin ARDUINO_MOSI_PWM_D11_Pin */
  GPIO_InitStruct.Pin = ARDUINO_MISO_D12_Pin|ARDUINO_MOSI_PWM_D11_Pin;
  GPIO_InitStruct.Mode = GPIO_MODE_AF_PP;
  GPIO_InitStruct.Pull = GPIO_NOPULL;
  GPIO_InitStruct.Speed = GPIO_SPEED_FREQ_LOW;
  GPIO_InitStruct.Alternate = GPIO_AF5_SPI2;
  HAL_GPIO_Init(GPIOB, &GPIO_InitStruct);

}

void Error_Handler(void)
{
  __disable_irq();
  while (1)
  {
  }
}
